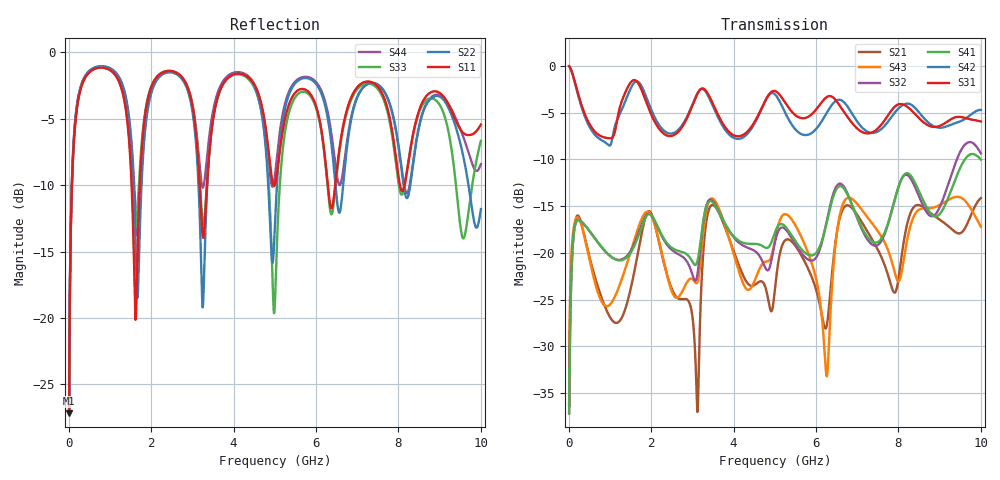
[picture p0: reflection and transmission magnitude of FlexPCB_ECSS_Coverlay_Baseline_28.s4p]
! TOUCHSTONE file generated by CST MICROWAVE STUDIO
! Date and time: Sun Jul  5 19:09:49 2026
! Project name: FlexPCB_ECSS_Coverlay_Baseline.cst
! Parameters = {Gap=1; GroundW=8.6; Hadh=0.025; Hcov=0.025; Hsub=0.1; L=50; Tcu=0.035; W=0.26}
! Header version: 2024
! Port assignment regex: !\s*Touchstone port\s*([0-9]+)\s*=\s*(CST MWS port|CST DES external port|CST DES block port)\s*(.+)\s* \(\"(.*)\"\)(\s*mode\s*([0-9]+))?.*
! Touchstone port assignment:
! Touchstone port 1 = CST MWS port 1 ("")
! Touchstone port 2 = CST MWS port 2 ("")
! Touchstone port 3 = CST MWS port 3 ("")
! Touchstone port 4 = CST MWS port 4 ("")
# GHz S MA R 50
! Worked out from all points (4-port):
!   1002 points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, 10 MHz to 10 GHz, reference 50 ohm
!   strongest paths, dB at 10 MHz, 2.51 GHz, 5.01 GHz, 7.503 GHz, 10 GHz:
!     S31: 0.0, -7.5, -2.7, -6.7, -5.9
!     S42: 0.0, -7.2, -3.1, -7.0, -4.7
!     S41: -37.2, -19.5, -17.7, -18.8, -10.0
!     S32: -37.2, -19.7, -18.8, -19.1, -9.4
!     S43: -36.4, -24.2, -18.5, -17.7, -17.2
!     S21: -36.4, -23.9, -23.6, -19.7, -14.1
!   lowest |S11| = -27.2 dB at 10 MHz (marker M1), VSWR 1.09, Z = 49.6 - j4.36 ohm
!   |S11| at or under -10 dB: 1.526 GHz to 1.724 GHz (198.1 MHz wide, 12.2 % of centre); 3.177 GHz to 3.355 GHz (177.6 MHz wide, 5.44 % of centre); 6.286 GHz to 6.465 GHz (179.4 MHz wide, 2.81 % of centre)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
0.01  0.04381 -92.1  0.01517 84.4  0.9979 -2.9  0.01385 84.5
      0.01517 84.4  0.04555 -92.3  0.01385 84.5  0.9978 -3.0
      0.9979 -2.9  0.01385 84.5  0.04381 -92.1  0.01517 84.4
      0.01385 84.5  0.9978 -3.0  0.01517 84.4  0.04556 -92.2
1.65  0.1288 -146.9  0.0922 32.9  0.8278 171.3  0.1169 -145.7
      0.0922 32.9  0.1324 152.5  0.1202 -147.1  0.8283 179.4
      0.8278 171.3  0.1202 -147.1  0.233 -169.2  0.1285 19.3
      0.1169 -145.7  0.8283 179.4  0.1285 19.3  0.2131 163.6
3.24  0.2112 161.6  0.08288 63.9  0.7587 0.8  0.1353 55.2
      0.08288 63.9  0.115 158.1  0.1328 61.8  0.7548 0.2
      0.7587 0.8  0.1328 61.8  0.2358 156.8  0.1131 30.1
      0.1353 55.2  0.7548 0.2  0.1131 30.1  0.3115 170.3
4.92  0.3426 157.2  0.04871 -25.6  0.7276 -179.9  0.1144 -143.6
      0.04871 -25.6  0.1747 154.5  0.09166 -134.4  0.7159 177.7
      0.7276 -179.9  0.09166 -134.4  0.1843 121.3  0.09645 -11.5
      0.1144 -143.6  0.7159 177.7  0.09645 -11.5  0.3179 164.0
6.34  0.2683 167.2  0.05906 111.1  0.6904 8.0  0.1734 89.1
      0.05906 111.1  0.4967 141.0  0.1783 95.5  0.5995 27.5
      0.6904 8.0  0.1783 95.5  0.256 163.7  0.04299 88.9
      0.1734 89.1  0.5995 27.5  0.04299 88.9  0.5336 144.2
8.03  0.3199 163.9  0.08048 92.6  0.626 -178.1  0.2345 -95.6
      0.08048 92.6  0.4097 141.9  0.2357 -90.7  0.6008 -167.0
      0.626 -178.1  0.2357 -90.7  0.3036 157.0  0.07171 109.9
      0.2345 -95.6  0.6008 -167.0  0.07171 109.9  0.4149 143.9
10  0.5339 -171.1  0.1965 -23.8  0.5048 -51.9  0.3154 22.6
    0.1965 -23.8  0.2569 -174.2  0.3406 26.2  0.582 -42.2
    0.5048 -51.9  0.3406 26.2  0.4636 -162.6  0.138 -9.4
    0.3154 22.6  0.582 -42.2  0.138 -9.4  0.3791 -178.7
